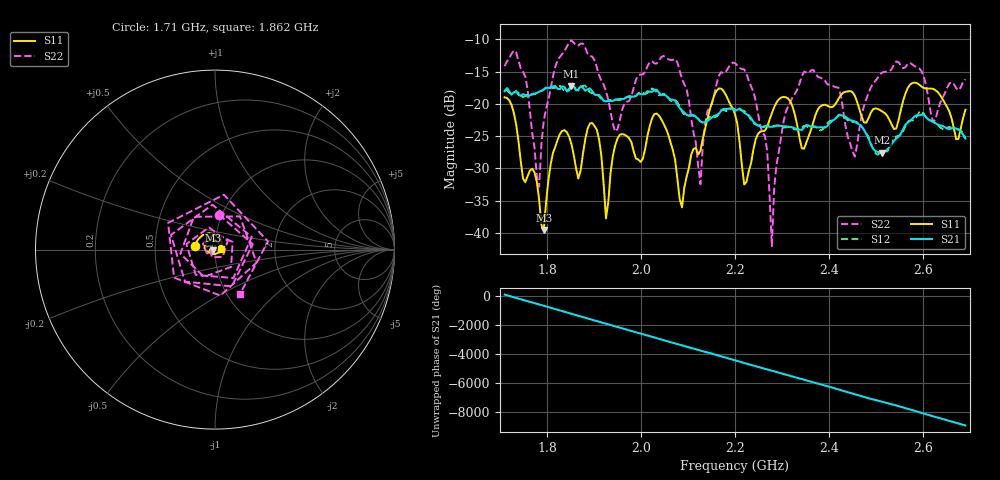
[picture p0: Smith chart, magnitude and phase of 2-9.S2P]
!Agilent Technologies,E5061B,MY49305579,A.02.22
!Date: Thu Aug 24 16:28:22 2017
!Data & Calibration Information:
!Freq	S11:SOLT2(ON)	S21:SOLT2(ON)	S12:SOLT2(ON)	S22:SOLT2(ON)
# Hz S dB R 50
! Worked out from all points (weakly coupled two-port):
!   201 points, 1.71 GHz to 2.69 GHz, reference 50 ohm
!   highest |S21| = -17.24 dB at 1.852 GHz (marker M1); lowest = -27.5 dB at 2.514 GHz (marker M2)
!   lowest |S11| = -39.5 dB at 1.793 GHz (marker M3), VSWR 1.02, Z = 49 - j0.358 ohm
!   |S11| at or under -10 dB: start of sweep to end of sweep
!   |S22| runs from -42.0 to -10.2 dB; largest |S21 - S12| = 0.012
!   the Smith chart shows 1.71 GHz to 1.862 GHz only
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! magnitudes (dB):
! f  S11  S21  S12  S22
! 1.71 GHz  -19.0  -18.1  -17.9  -14.2
! 1.754 GHz  -32.1  -18.6  -18.8  -15.8
! 1.784 GHz  -34.9  -18.1  -18.1  -32.8
! 1.793 GHz  -39.5  -17.8  -17.7  -22.6
! 1.852 GHz  -26.2  -17.2  -17.2  -10.2
! 1.877 GHz  -27.7  -17.5  -17.2  -10.7
! 1.906 GHz  -24.0  -18.6  -18.5  -14.3
! 1.926 GHz  -37.7  -19.6  -19.6  -18.0
! 1.945 GHz  -26.4  -19.4  -19.3  -24.3
! 2.038 GHz  -21.8  -18.3  -18.6  -13.3
! 2.087 GHz  -36.0  -21.0  -21.2  -16.2
! 2.127 GHz  -27.3  -22.8  -22.7  -32.4
! 2.2 GHz  -21.6  -21.1  -20.9  -13.7
! 2.22 GHz  -32.5  -21.4  -21.1  -14.7
! 2.264 GHz  -24.1  -23.4  -23.5  -25.0
! 2.278 GHz  -21.4  -23.6  -23.4  -42.0
! 2.308 GHz  -19.0  -23.5  -23.6  -21.3
! 2.367 GHz  -22.8  -23.6  -23.5  -14.7
! 2.455 GHz  -18.8  -22.7  -22.7  -28.2
! 2.514 GHz  -21.2  -27.5  -27.3  -15.1
! 2.528 GHz  -22.4  -26.7  -26.9  -14.9
! 2.69 GHz  -20.9  -25.4  -25.4  -16.2
